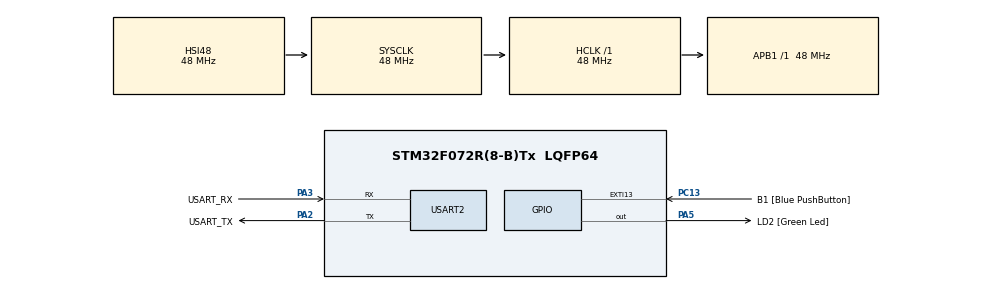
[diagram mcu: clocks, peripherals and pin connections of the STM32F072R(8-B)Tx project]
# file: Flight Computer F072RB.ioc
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Mcu.Family=STM32F0
Mcu.Name=STM32F072R(8-B)Tx
Mcu.Package=LQFP64
PA13.GPIO_Label=TMS
PA13.Mode=Serial_Wire
PA13.Signal=SYS_SWDIO
PA14.GPIO_Label=TCK
PA14.Mode=Serial_Wire
PA14.Signal=SYS_SWCLK
PA2.GPIO_Label=USART_TX
PA2.GPIO_Mode=GPIO_MODE_AF_PP
PA2.GPIO_PuPd=GPIO_NOPULL
PA2.GPIO_Speed=GPIO_SPEED_FREQ_LOW
PA2.Mode=Asynchronous
PA2.Signal=USART2_TX
PA3.GPIO_Label=USART_RX
PA3.GPIO_Mode=GPIO_MODE_AF_PP
PA3.GPIO_PuPd=GPIO_NOPULL
PA3.GPIO_Speed=GPIO_SPEED_FREQ_LOW
PA3.Mode=Asynchronous
PA3.Signal=USART2_RX
PA5.GPIO_Label=LD2 [Green Led]
PA5.GPIO_Mode=GPIO_MODE_OUTPUT_PP
PA5.GPIO_PuPd=GPIO_NOPULL
PA5.GPIO_Speed=GPIO_SPEED_FREQ_LOW
PA5.Signal=GPIO_Output
PC13.GPIO_Label=B1 [Blue PushButton]
PC13.GPIO_ModeDefaultEXTI=GPIO_MODE_IT_FALLING
PC13.Signal=GPXTI13
PC14-OSC32_IN.Mode=LSE-External-Oscillator
PC14-OSC32_IN.Signal=RCC_OSC32_IN
PC15-OSC32_OUT.Mode=LSE-External-Oscillator
PC15-OSC32_OUT.Signal=RCC_OSC32_OUT
PF0-OSC_IN.Mode=HSE-External-Clock-Source
PF0-OSC_IN.Signal=RCC_OSC_IN
PF1-OSC_OUT.Signal=RCC_OSC_OUT
ProjectManager.HeapSize=0x200
ProjectManager.StackSize=0x400
ProjectManager.TargetToolchain=STM32CubeIDE
RCC.AHBFreq_Value=48000000
RCC.APB1Freq_Value=48000000
RCC.APB1TimFreq_Value=48000000
RCC.FLatency-AdvancedSettings=FLASH_LATENCY_1
RCC.HCLKFreq_Value=48000000
RCC.PLLDivider=RCC_PREDIV_DIV2
RCC.PLLMUL=RCC_PLL_MUL12
RCC.PREFETCH_ENABLE-AdvancedSettings=1
RCC.SYSCLKFreq_VALUE=48000000
RCC.SYSCLKSource=RCC_SYSCLKSOURCE_HSI48
USART2.VirtualMode=VM_ASYNC
USART2.VirtualMode-Asynchronous=VM_ASYNC
board=NUCLEO-F072RB

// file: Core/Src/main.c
/* USER CODE BEGIN Header */
/**
  ******************************************************************************
  * @file           : main.c
  * @brief          : Main program body
  ******************************************************************************
  * @attention
  *
  * Copyright (c) 2024 STMicroelectronics.
  * All rights reserved.
  *
  * This software is licensed under terms that can be found in the LICENSE file
  * in the root directory of this software component.
  * If no LICENSE file comes with this software, it is provided AS-IS.
  *
  ******************************************************************************
  */
/* USER CODE END Header */
#include "main.h"

UART_HandleTypeDef huart2;

void SystemClock_Config(void);
static void MX_GPIO_Init(void);
static void MX_USART2_UART_Init(void);

/* USER CODE BEGIN 0 */

void UARTSendString(char* message, uint8_t length){
	if (HAL_UART_Transmit(&huart2, (uint8_t*)message, length, 100) != HAL_OK) {

	}
}

void UARTSendInt(int number) {
	if (number < 0) {
	    UARTSendString("-", 1);
	    number = -number;
	}

	int num_digits = 0;
	int temp = number;

	  // Count the number of digits (works for non-negative numbers)
	while (temp > 0) {
	    temp /= 10;
	    num_digits++;
	}

	char* buffer = (char*)malloc(num_digits * sizeof(char));

	  // Handle zero (special case)
	if (number == 0) {
	    UARTSendString("0", 1);
	    return;
	}

	  // Fill the buffer with digits (right-to-left conversion)
	for (int i = num_digits - 1; i >= 0; i--) {
	    int digit = number % 10;
	    buffer[i] = 0x30 + digit;
	    number /= 10;
	}
	UARTSendString(buffer, (uint8_t)num_digits);
}

void UARTSendFloat(float number, int accuracy){
	if (number < 0) {
	    UARTSendString("-", 1);
	    number = -number;
	}

	if (isnan(number)) {
		UARTSendString("NaN", 3);
		return;
	}

	if (isinf(number)) {
		UARTSendString("Inf", 3);
	}

	int exponent = (int)floor(log10(number));
	int mantissaLeading = (int)(number * pow(10, -exponent));
	int mantissaRest = (int)((number * pow(10, -exponent) - mantissaLeading) * pow(10, accuracy));
	UARTSendInt(mantissaLeading);
	UARTSendString(".", 2);
	UARTSendInt(mantissaRest);
	UARTSendString("E", 1);
	UARTSendInt(exponent);
}

uint32_t GetTime()
{
    uint32_t ms = HAL_GetTick();
    uint32_t st = SysTick->VAL;

    if (ms != HAL_GetTick())
    {
        ms = HAL_GetTick();
        st = SysTick->VAL;
    }

    return ms * 1000 - st / ((SysTick->LOAD + 1) / 1000);
}

/* USER CODE END 0 */

int main(void)
{

  /* MCU Configuration--------------------------------------------------------*/

  /* Reset of all peripherals, Initializes the Flash interface and the Systick. */
  HAL_Init();

  /* USER CODE BEGIN Init */

  int startTime = GetTime();
  int lastTime = startTime;
  int count = 100;
  InitilizeInertialMeasurementSystem();

  /* USER CODE END Init */

  /* Configure the system clock */
  SystemClock_Config();

  /* Initialize all configured peripherals */
  MX_GPIO_Init();
  MX_USART2_UART_Init();
  /* USER CODE BEGIN 2 */

  UARTSendString("\r\n\r\n", 4);

  /* USER CODE END 2 */

  /* Infinite loop */
  /* USER CODE BEGIN WHILE */
  while (count > 0)
  {
    /* USER CODE END WHILE */
	count -= 1;
	int time = GetTime();
	int deltaTime = time - lastTime;
	UpdateSystemEstimate(1E-6 * deltaTime);
	UARTSendFloat(GetEstimate().acceleration.z, 5);
	UARTSendString("\r\n", 2);
	lastTime = time;
  }
}

void SystemClock_Config(void)
{
  RCC_OscInitTypeDef RCC_OscInitStruct = {0};
  RCC_ClkInitTypeDef RCC_ClkInitStruct = {0};
  RCC_PeriphCLKInitTypeDef PeriphClkInit = {0};

  /** Initializes the RCC Oscillators according to the specified parameters
  * in the RCC_OscInitTypeDef structure.
  */
  RCC_OscInitStruct.OscillatorType = RCC_OSCILLATORTYPE_HSI48;
  RCC_OscInitStruct.HSI48State = RCC_HSI48_ON;
  RCC_OscInitStruct.PLL.PLLState = RCC_PLL_NONE;
  if (HAL_RCC_OscConfig(&RCC_OscInitStruct) != HAL_OK)
  {
    Error_Handler();
  }

  /** Initializes the CPU, AHB and APB buses clocks
  */
  RCC_ClkInitStruct.ClockType = RCC_CLOCKTYPE_HCLK|RCC_CLOCKTYPE_SYSCLK
                              |RCC_CLOCKTYPE_PCLK1;
  RCC_ClkInitStruct.SYSCLKSource = RCC_SYSCLKSOURCE_HSI48;
  RCC_ClkInitStruct.AHBCLKDivider = RCC_SYSCLK_DIV1;
  RCC_ClkInitStruct.APB1CLKDivider = RCC_HCLK_DIV1;

  if (HAL_RCC_ClockConfig(&RCC_ClkInitStruct, FLASH_LATENCY_1) != HAL_OK)
  {
    Error_Handler();
  }
  PeriphClkInit.PeriphClockSelection = RCC_PERIPHCLK_USART2;
  PeriphClkInit.Usart2ClockSelection = RCC_USART2CLKSOURCE_PCLK1;
  if (HAL_RCCEx_PeriphCLKConfig(&PeriphClkInit) != HAL_OK)
  {
    Error_Handler();
  }
}

static void MX_USART2_UART_Init(void)
{

  huart2.Instance = USART2;
  huart2.Init.BaudRate = 38400;
  huart2.Init.WordLength = UART_WORDLENGTH_8B;
  huart2.Init.StopBits = UART_STOPBITS_1;
  huart2.Init.Parity = UART_PARITY_NONE;
  huart2.Init.Mode = UART_MODE_TX_RX;
  huart2.Init.HwFlowCtl = UART_HWCONTROL_NONE;
  huart2.Init.OverSampling = UART_OVERSAMPLING_16;
  huart2.Init.OneBitSampling = UART_ONE_BIT_SAMPLE_DISABLE;
  huart2.AdvancedInit.AdvFeatureInit = UART_ADVFEATURE_NO_INIT;
  if (HAL_UART_Init(&huart2) != HAL_OK)
  {
    Error_Handler();
  }

}

static void MX_GPIO_Init(void)
{
  GPIO_InitTypeDef GPIO_InitStruct = {0};

  /* GPIO Ports Clock Enable */
  __HAL_RCC_GPIOC_CLK_ENABLE();
  __HAL_RCC_GPIOF_CLK_ENABLE();
  __HAL_RCC_GPIOA_CLK_ENABLE();

  /*Configure GPIO pin Output Level */
  HAL_GPIO_WritePin(LD2_GPIO_Port, LD2_Pin, GPIO_PIN_RESET);

  /*Configure GPIO pin : B1_Pin */
  GPIO_InitStruct.Pin = B1_Pin;
  GPIO_InitStruct.Mode = GPIO_MODE_IT_FALLING;
  GPIO_InitStruct.Pull = GPIO_NOPULL;
  HAL_GPIO_Init(B1_GPIO_Port, &GPIO_InitStruct);

  /*Configure GPIO pin : LD2_Pin */
  GPIO_InitStruct.Pin = LD2_Pin;
  GPIO_InitStruct.Mode = GPIO_MODE_OUTPUT_PP;
  GPIO_InitStruct.Pull = GPIO_NOPULL;
  GPIO_InitStruct.Speed = GPIO_SPEED_FREQ_LOW;
  HAL_GPIO_Init(LD2_GPIO_Port, &GPIO_InitStruct);

}

void Error_Handler(void)
{
  __disable_irq();
  while (1)
  {
  }
}
